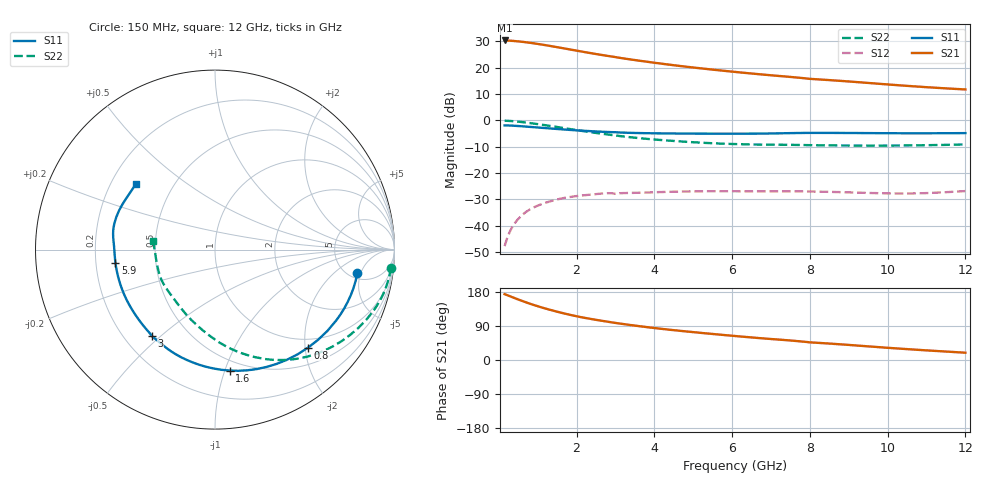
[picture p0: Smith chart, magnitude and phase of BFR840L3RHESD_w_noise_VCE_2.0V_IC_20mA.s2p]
! Infineon Technologies  Discrete & RF Semiconductors
! BFR840L3RHESD
! VCE =  2.0 V,  IC =  20 mA
! Common Emitter S-Parameters:  Jun 2012
# GHz  S  MA  R  50
!  f  S11  S21  S12  S22
! GHz  MAG  ANG  MAG  ANG  MAG  ANG  MAG  ANG
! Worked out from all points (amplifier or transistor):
!   91 points, 150 MHz to 12 GHz, reference 50 ohm
!   highest |S21| = 30.4 dB at 150 MHz (marker M1)
!   |S21| within 3 dB of that: start of sweep to 1.673 GHz
!   unconditionally stable (mu >= 1): 7.474 GHz to end of sweep
!   at 1.3 GHz: K = 0.18, MSG = 29.6 dB, |S12| = -30.8 dB
!   at 4.3 GHz: K = 0.57, MSG = 24.2 dB, |S12| = -27.2 dB
!   at 12 GHz: K = 1.79, MAG = 14.1 dB, |S12| = -26.8 dB
!   lowest NFmin = 1.09 dB at 450 MHz
!   S11 on the Smith chart (normalised r, x): 150 MHz: 5.94, -4.37; 800 MHz: 0.82, -2.06; 1.6 GHz: 0.42, -1.04; 3 GHz: 0.31, -0.47; 5.9 GHz: 0.28, -0.06; 12 GHz: 0.30, +0.33
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0.15  0.8042 -9.3  32.93 173.8  0.0041 78.9  0.9849 -5.9
0.3  0.7981 -18.6  32.55 167.8  0.0082 79.5  0.9747 -12.8
0.5  0.7825 -30.2  31.62 159.7  0.0135 71.1  0.9465 -21.1
0.7  0.7631 -41.2  30.41 152.2  0.0183 64.9  0.9098 -28.7
0.8  0.7531 -46.5  29.74 148.6  0.0204 62.5  0.8902 -32.3
1  0.7334 -56.7  28.31 142.0  0.0241 58.5  0.8503 -39.3
1.2  0.7145 -66.1  26.81 135.8  0.0273 54.9  0.8102 -45.8
1.4  0.6964 -74.9  25.3 130.2  0.0302 51.3  0.77 -51.8
1.6  0.6789 -83.1  23.83 124.9  0.0328 47.6  0.73 -57.4
1.9  0.6547 -94.4  21.76 117.7  0.0358 42.5  0.6727 -65.1
2.2  0.6344 -104.4  19.87 111.4  0.038 38.1  0.6216 -72.0
2.6  0.6123 -115.8  17.69 104.3  0.0406 34.8  0.5648 -80.1
3  0.5967 -126.0  15.9 97.8  0.0405 32.0  0.519 -87.2
3.6  0.5754 -138.6  13.64 89.4  0.0424 28.0  0.4615 -97.2
4.2  0.567 -149.1  11.9 82.1  0.0437 25.5  0.4227 -106.0
4.9  0.5619 -159.7  10.29 74.6  0.0449 23.7  0.3894 -115.8
5.9  0.5595 -172.4  8.58 64.9  0.0452 22.5  0.3589 -128.9
6.1  0.5595 -174.6  8.292 63.1  0.0452 22.3  0.3552 -131.4
8  0.5793 165.6  6.145 46.6  0.0447 19.9  0.3388 -156.2
8.5  0.579 161.7  5.826 43.4  0.044 19.6  0.3358 -160.6
10.5  0.5697 147.2  4.525 28.7  0.0409 26.6  0.3349 -178.3
12  0.5738 140.1  3.865 19.2  0.0456 34.3  0.3506 172.6
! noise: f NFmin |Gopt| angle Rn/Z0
0.45  1.09  0.06  16  0.16
0.9  1.12  0.07  29  0.15
1.9  1.15  0.1  55  0.14
3.5  1.14  0.12  79  0.13
4  1.15  0.14  86  0.13
5.5  1.17  0.17  104  0.12
7  1.23  0.19  122  0.12
8  1.28  0.19  133  0.12
10  1.37  0.19  157  0.12
12  1.49  0.21  -170  0.12
